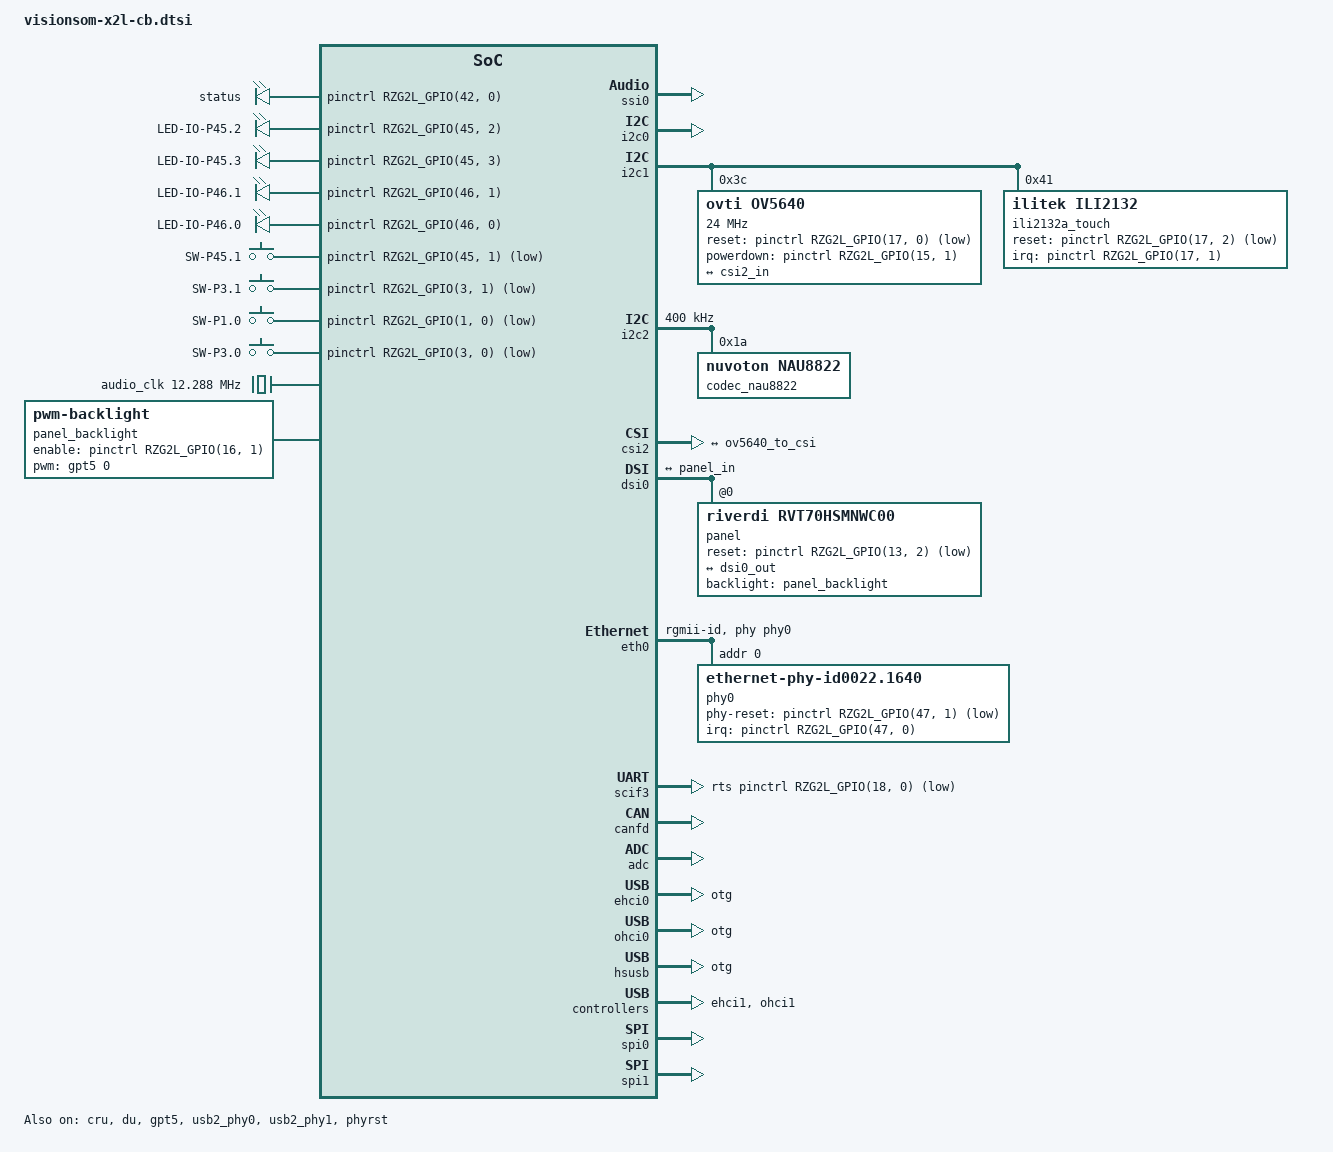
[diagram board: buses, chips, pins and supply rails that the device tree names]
// SPDX-License-Identifier: (GPL-2.0-only OR BSD-2-Clause)
/*
 * Device Tree Source for VisionSOM-x2L carrier board
 *
 * Copyright (C) 2023 Somlabs
 */

#include <dt-bindings/gpio/gpio.h>

/ {
	leds {	/* dedicated led for system status */
		compatible = "gpio-leds";

		status {
			label = "status";
			gpios = <&pinctrl RZG2L_GPIO(42, 0) GPIO_ACTIVE_HIGH>;
			linux,default-trigger = "heartbeat";
		};

		led-io-04 {
			label = "LED-IO-P45.2";
			gpios = <&pinctrl RZG2L_GPIO(45, 2) GPIO_ACTIVE_HIGH>;
			default-state = "off";
		};
		led-io-05 {
			label = "LED-IO-P45.3";
			gpios = <&pinctrl RZG2L_GPIO(45, 3) GPIO_ACTIVE_HIGH>;
			default-state = "off";
		};
		led-io-06 {
			label = "LED-IO-P46.1";
			gpios = <&pinctrl RZG2L_GPIO(46, 1) GPIO_ACTIVE_HIGH>;
			default-state = "off";
		};
		led-io-07 {
			label = "LED-IO-P46.0";
			gpios = <&pinctrl RZG2L_GPIO(46, 0) GPIO_ACTIVE_HIGH>;
			default-state = "off";
		};
	};

	gpio_buttons: gpio_buttons0 {
		compatible = "gpio-keys-polled";
		poll-interval = <10>;

		switch1 {
			label = "SW-P45.1";
			linux,code = <0x100>;
			gpios = <&pinctrl RZG2L_GPIO(45, 1) GPIO_ACTIVE_LOW>;
		};

		switch2 {
			label = "SW-P3.1";
			linux,code = <0x101>;
			gpios = <&pinctrl RZG2L_GPIO(3, 1) GPIO_ACTIVE_LOW>;
		};

		switch3 {
			label = "SW-P1.0";
			linux,code = <0x102>;
			gpios = <&pinctrl RZG2L_GPIO(1, 0) GPIO_ACTIVE_LOW>;
			//wakeup-source;
		};

		switch4 {
			label = "SW-P3.0";
			linux,code = <0x103>;
			gpios = <&pinctrl RZG2L_GPIO(3, 0) GPIO_ACTIVE_LOW>;
		};
	};

	snd_rzg2l: sound {
		compatible = "simple-audio-card";
		simple-audio-card,name = "nau8822";

		simple-audio-card,widgets =
			"Headphones", "Headphones",
			"Microphone", "Mic In";
		simple-audio-card,routing =
			"Headphones", "LHP",
			"Headphones", "RHP",
			"LMICP",    "Mic In",
			"RMICP",    "Mic In";

		simple-audio-card,format = "i2s";
		simple-audio-card,bitclock-master = <&cpu_dai>;
		simple-audio-card,frame-master = <&cpu_dai>;
		simple-audio-card,mclk-fs = <256>;

		cpu_dai: simple-audio-card,cpu {
			sound-dai = <&ssi0>;
		};

		codec_dai: simple-audio-card,codec {
			sound-dai = <&codec_nau8822>;
			clocks = <&audio_clk>;
		};
	};

	audio_clk: audio-clock {
		compatible = "fixed-clock";
		#clock-cells = <0>;
		clock-frequency = <12288000>;
	};

	x1_clk: x1-clock {
		compatible = "fixed-clock";
		#clock-cells = <0>;
		clock-frequency = <24000000>;
	};

	panel_backlight: panel-backlight {
		compatible = "pwm-backlight";
		pwms = <&gpt5 0 50000>;

		brightness-levels = <255 128 64 32 16 8 2 0>;
		default-brightness-level = <6>;
		enable-gpios = <&pinctrl RZG2L_GPIO(16, 1) GPIO_ACTIVE_HIGH>;
	};
};

&audio_clk1{
	clock-frequency = <12288000>;
};

&ssi0 {
	status = "okay";
};

&i2c0 {
	status = "okay";
};

&i2c1 {
	status = "okay";

	ov5640: camera@3c {
		compatible = "ovti,ov5640";
		reg = <0x3c>;
		clock-names = "xclk";
		clocks = <&clk_ext_camera>;
		clock-frequency = <24000000>;

		reset-gpios = <&pinctrl RZG2L_GPIO(17, 0) GPIO_ACTIVE_LOW>;
		powerdown-gpios = <&pinctrl RZG2L_GPIO(15, 1) GPIO_ACTIVE_HIGH>;

		port {
			ov5640_to_csi: endpoint {
				clock-lanes = <0>;
				data-lanes = <1 2>;
				remote-endpoint = <&csi2_in>;
			};
		};
	};

	ili2132a_touch: ili2132a@41 {
		compatible = "ilitek,ili2132";
		reg = <0x41>;
		interrupt-parent = <&pinctrl>;
		interrupts = <RZG2L_GPIO(17, 1) IRQ_TYPE_EDGE_FALLING>;
		reset-gpios = <&pinctrl RZG2L_GPIO(17, 2) GPIO_ACTIVE_LOW>;
	};
};

&i2c2 {
	status = "okay";
	clock-frequency = <400000>;

	codec_nau8822: nau8822@1a {
		compatible = "nuvoton,nau8822";
		reg = <0x1a>;
		#sound-dai-cells = <0>;
	};
};

&cru {
	status = "okay";
};

&csi2 {
	status = "okay";

	ports {
		port {
			csi2_in: endpoint {
				clock-lanes = <0>;
				data-lanes = <1 2>;
				remote-endpoint = <&ov5640_to_csi>;
			};
		};
	};
};

&du {
	status = "okay";
};

&dsi0 {
	status = "okay";
	#address-cells = <1>;
	#size-cells = <0>;

	ports {
		#address-cells = <1>;
		#size-cells = <0>;
		port@1 {
			dsi0_out: endpoint {
				remote-endpoint = <&panel_in>;
				data-lanes = <1 2>;
			};
		};
	};

	panel@0 {
		compatible = "riverdi,rvt70hsmnwc00";

		reg = <0>;
		reset-gpios = <&pinctrl RZG2L_GPIO(13, 2) GPIO_ACTIVE_LOW>;
		status = "okay";
		backlight = <&panel_backlight>;

		port {
			panel_in: endpoint {
				remote-endpoint = <&dsi0_out>;
			};
		};

	};
};

&eth0 {
	pinctrl-0 = <&eth0_pins>;
	pinctrl-names = "default";
	phy-handle = <&phy0>;
	phy-mode = "rgmii-id";
	status = "okay";

	phy0: ethernet-phy@0 {
		compatible = "ethernet-phy-id0022.1640",
			     "ethernet-phy-ieee802.3-c22";
		reg = <0>;
		rxc-skew-psec = <2400>;
		txc-skew-psec = <2400>;
		rxdv-skew-psec = <0>;
		txdv-skew-psec = <0>;
		rxd0-skew-psec = <0>;
		rxd1-skew-psec = <0>;
		rxd2-skew-psec = <0>;
		rxd3-skew-psec = <0>;
		txd0-skew-psec = <0>;
		txd1-skew-psec = <0>;
		txd2-skew-psec = <0>;
		txd3-skew-psec = <0>;

		interrupt-parent = <&pinctrl>;
		interrupts = <RZG2L_GPIO(47, 0) IRQ_TYPE_LEVEL_LOW>; /* GPIO47.0 */

		phy-reset-gpios = <&pinctrl RZG2L_GPIO(47, 1) GPIO_ACTIVE_LOW>; /* GPIO47.1 */
		phy-reset-duration = <10>;
		phy-reset-post-delay = <50>;

	};
};

&eth1 {
	pinctrl-0 = <&eth1_pins>;
	pinctrl-names = "default";
	phy-handle = <&phy1>;
	phy-mode = "rgmii-id";
	status = "disabled";

	phy1: ethernet-phy@1 {
		compatible = "ethernet-phy-id0022.1640",
			     "ethernet-phy-ieee802.3-c22";
		reg = <1>;
		rxc-skew-psec = <2400>;
		txc-skew-psec = <2400>;
		rxdv-skew-psec = <0>;
		txdv-skew-psec = <0>;
		rxd0-skew-psec = <0>;
		rxd1-skew-psec = <0>;
		rxd2-skew-psec = <0>;
		rxd3-skew-psec = <0>;
		txd0-skew-psec = <0>;
		txd1-skew-psec = <0>;
		txd2-skew-psec = <0>;
		txd3-skew-psec = <0>;

		interrupt-parent = <&pinctrl>;
		interrupts = <RZG2L_GPIO(1, 1) IRQ_TYPE_LEVEL_LOW>;
	};
};

&scif3 {
	rts-gpios = <&pinctrl RZG2L_GPIO(18, 0) GPIO_ACTIVE_LOW>; /* P18_0 */

	linux,rs485-enabled-at-boot-time;
	status = "okay";
};

&canfd {
	pinctrl-0 = <&can0_pins>;
	renesas,no-can-fd;
	status = "okay";

	channel0 {
		status = "okay";
	};
};

&adc {
	status = "okay";
};

&gpt5 {
	pinctrl-0 = <&gpt5_pins>;
	pinctrl-names = "default";
	channel = "channel_A";
	status = "okay";
};

/* enable USB interfaces*/
&ehci0 {
	dr_mode = "otg";
	status = "okay";
};

&ohci0 {
	dr_mode = "otg";
	status = "okay";
};

&hsusb {
	dr_mode = "otg";
	status = "okay";
};

&usb2_phy0 {
	status = "okay";
};

&ehci1 {
	status = "okay";
};

&ohci1 {
	status = "okay";
};

&usb2_phy1 {
	status = "okay";
};

&phyrst {
	status = "okay";
};

/* SPI interfaces */
&spi0 {
	status = "okay";
};

&spi1 {
	status = "okay";
};
